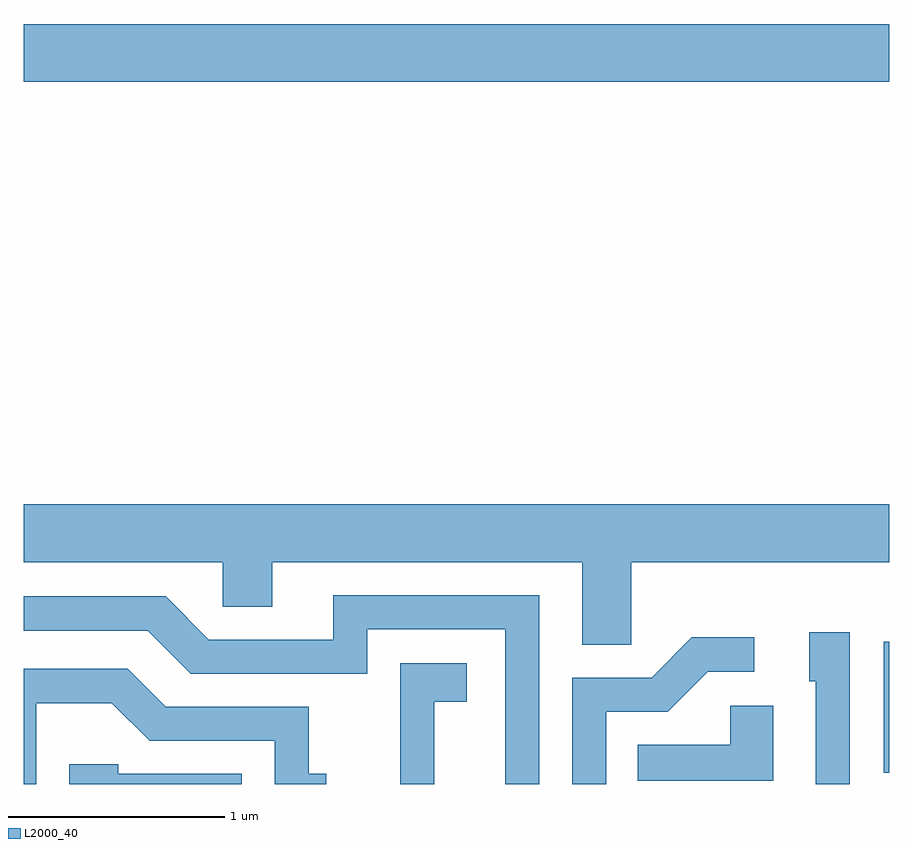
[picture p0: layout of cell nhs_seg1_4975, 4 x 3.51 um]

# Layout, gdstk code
import gdstk
lib = gdstk.Library(unit=1e-6, precision=1e-09)
def R(c, l, rs):  # rectangles x0, y0, x1, y1
    for r in rs: c.add(gdstk.rectangle(r[:2], r[2:], *l))
def P(c, l, *ps):  # polygons
    for p in ps: c.add(gdstk.Polygon(p, *l))
L2000_40 = (2000, 40)

nhs_seg1_4975 = lib.new_cell('nhs_seg1_4975')
R(nhs_seg1_4975, L2000_40, [(339.586,849.763,339.611,850.369), (335.611,852.956,339.611,853.224)])
P(nhs_seg1_4975, L2000_40, [(338.419,850.736),(339.611,850.736),(339.611,851.004),(335.611,851.004),(335.611,850.736),(336.531,850.736),(336.531,850.531),(336.759,850.531),(336.759,850.736),(338.191,850.736),(338.191,850.356),(338.419,850.356)],
  [(337.994,850.584),(337.041,850.584),(337.041,850.379),(336.467,850.379),(336.267,850.579),(335.611,850.579),(335.611,850.421),(336.184,850.421),(336.384,850.221),(337.199,850.221),(337.199,850.426),(337.836,850.426),(337.836,849.712),(337.994,849.712)],
  [(339.429,850.414),(339.241,850.414),(339.241,850.186),(339.271,850.186),(339.271,849.712),(339.429,849.712)],
  [(338.304,850.046),(338.587,850.046),(338.772,850.231),(338.988,850.231),(338.988,850.389),(338.699,850.389),(338.514,850.204),(338.146,850.204),(338.146,849.712),(338.304,849.712)],
  [(337.509,850.091),(337.659,850.091),(337.659,850.269),(337.351,850.269),(337.351,849.712),(337.509,849.712)],
  [(335.669,850.086),(336.019,850.086),(336.194,849.911),(336.771,849.911),(336.771,849.712),(337.008,849.712),(337.008,849.759),(336.929,849.759),(336.929,850.069),(336.267,850.069),(336.092,850.244),(335.611,850.244),(335.611,849.712),(335.669,849.712)],
  [(339.074,850.074),(338.876,850.074),(338.876,849.894),(338.448,849.894),(338.448,849.726),(339.074,849.726)],
  [(336.619,849.759),(336.049,849.759),(336.049,849.804),(335.821,849.804),(335.821,849.712),(336.619,849.712)])

lib.write_gds('nhs_seg1_4975.gds')
